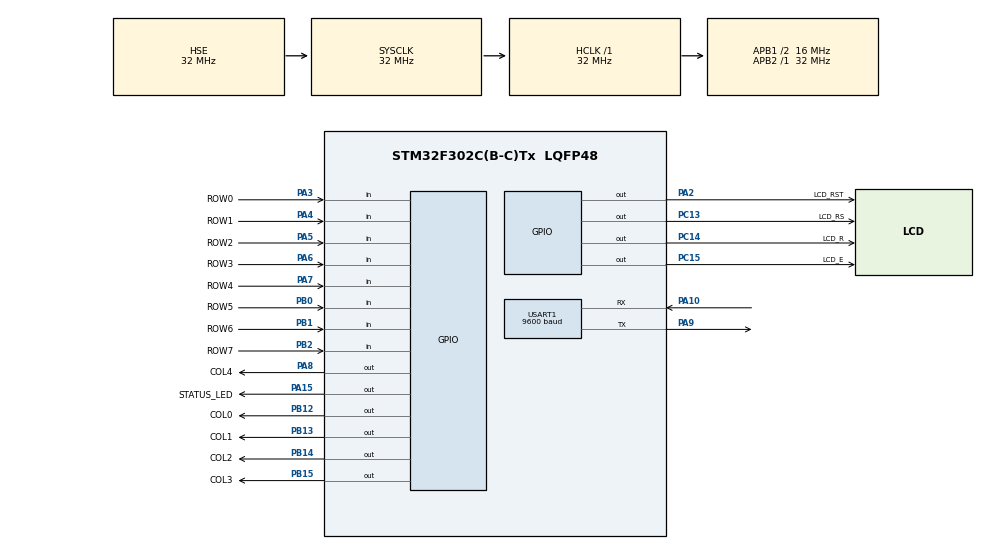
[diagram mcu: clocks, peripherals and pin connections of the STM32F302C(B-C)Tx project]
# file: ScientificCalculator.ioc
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Mcu.Family=STM32F3
Mcu.Name=STM32F302C(B-C)Tx
Mcu.Package=LQFP48
NVIC.PriorityGroup=NVIC_PRIORITYGROUP_4
NVIC.TIM2_IRQn=true\:0\:0\:false\:false\:true\:true\:true\:true
NVIC.USART1_IRQn=true\:0\:0\:false\:false\:true\:true\:true\:true
PA10.Mode=Asynchronous
PA10.Signal=USART1_RX
PA13.Signal=SYS_JTMS-SWDIO
PA14.Signal=SYS_JTCK-SWCLK
PA15.GPIO_Label=STATUS_LED
PA15.Signal=GPIO_Output
PA2.GPIO_Label=LCD_RST
PA2.Signal=GPIO_Output
PA3.GPIO_Label=ROW0
PA3.GPIO_Mode=GPIO_MODE_INPUT
PA3.GPIO_PuPd=GPIO_PULLUP
PA3.Signal=GPIO_Input
PA4.GPIO_Label=ROW1
PA4.GPIO_Mode=GPIO_MODE_INPUT
PA4.GPIO_PuPd=GPIO_PULLUP
PA4.Signal=GPIO_Input
PA5.GPIO_Label=ROW2
PA5.GPIO_Mode=GPIO_MODE_INPUT
PA5.GPIO_PuPd=GPIO_PULLUP
PA5.Signal=GPIO_Input
PA6.GPIO_Label=ROW3
PA6.GPIO_Mode=GPIO_MODE_INPUT
PA6.GPIO_PuPd=GPIO_PULLUP
PA6.Signal=GPIO_Input
PA7.GPIO_Label=ROW4
PA7.GPIO_Mode=GPIO_MODE_INPUT
PA7.GPIO_PuPd=GPIO_PULLUP
PA7.Signal=GPIO_Input
PA8.GPIO_Label=COL4
PA8.Signal=GPIO_Output
PA9.Mode=Asynchronous
PA9.Signal=USART1_TX
PB0.GPIO_Label=ROW5
PB0.GPIO_Mode=GPIO_MODE_INPUT
PB0.GPIO_PuPd=GPIO_PULLUP
PB0.Signal=GPIO_Input
PB1.GPIO_Label=ROW6
PB1.GPIO_Mode=GPIO_MODE_INPUT
PB1.GPIO_PuPd=GPIO_PULLUP
PB1.Signal=GPIO_Input
PB12.GPIO_Label=COL0
PB12.Signal=GPIO_Output
PB13.GPIO_Label=COL1
PB13.Signal=GPIO_Output
PB14.GPIO_Label=COL2
PB14.Signal=GPIO_Output
PB15.GPIO_Label=COL3
PB15.Signal=GPIO_Output
PB2.GPIO_Label=ROW7
PB2.GPIO_Mode=GPIO_MODE_INPUT
PB2.GPIO_PuPd=GPIO_PULLUP
PB2.Signal=GPIO_Input
PC13.GPIO_Label=LCD_RS
PC13.Signal=GPIO_Output
PC14-OSC32_IN.GPIO_Label=LCD_R
PC14-OSC32_IN.Signal=GPIO_Output
PC15-OSC32_OUT.GPIO_Label=LCD_E
PC15-OSC32_OUT.Signal=GPIO_Output
PF0-OSC_IN.Mode=HSE-External-Oscillator
PF0-OSC_IN.Signal=RCC_OSC_IN
PF1-OSC_OUT.Mode=HSE-External-Oscillator
PF1-OSC_OUT.Signal=RCC_OSC_OUT
ProjectManager.HeapSize=0x200
ProjectManager.StackSize=0x400
ProjectManager.TargetToolchain=STM32CubeIDE
RCC.AHBFreq_Value=32000000
RCC.APB1CLKDivider=RCC_HCLK_DIV2
RCC.APB1Freq_Value=16000000
RCC.APB1TimFreq_Value=32000000
RCC.APB2Freq_Value=32000000
RCC.APB2TimFreq_Value=32000000
RCC.CortexFreq_Value=32000000
RCC.HCLKFreq_Value=32000000
RCC.HSE_VALUE=32000000
RCC.HSI_VALUE=8000000
RCC.LSE_VALUE=32768
RCC.PLLMUL=RCC_PLL_MUL4
RCC.PLLSourceVirtual=RCC_PLLSOURCE_HSE
RCC.RCC_PLLsource_Clock_Source_FROM_HSE=RCC_HSE_PREDIV_DIV2
RCC.SYSCLKFreq_VALUE=32000000
RCC.SYSCLKSourceVirtual=RCC_SYSCLKSOURCE_HSE
RCC.USBFreq_Value=64000000
TIM1.Period=0xffff-1
TIM1.Prescaler=32-1
TIM2.Period=5000
TIM2.Prescaler=3200-1
USART1.BaudRate=9600
USART1.VirtualMode-Asynchronous=VM_ASYNC
VP_TIM1_VS_ClockSourceINT.Mode=Internal
VP_TIM2_VS_ClockSourceINT.Mode=Internal
board=custom

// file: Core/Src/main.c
/* USER CODE BEGIN Header */
/**
  ******************************************************************************
  * @file           : main.c
  * @brief          : Main program body
  ******************************************************************************
  * @attention
  *
  * Copyright (c) 2023 STMicroelectronics.
  * All rights reserved.
  *
  * This software is licensed under terms that can be found in the LICENSE file
  * in the root directory of this software component.
  * If no LICENSE file comes with this software, it is provided AS-IS.
  *
  ******************************************************************************
  */
/* USER CODE END Header */
#include "main.h"

/* USER CODE BEGIN Includes */
#include "stdio.h"

#include "string.h"

#include "../../Library/ST7920_SERIAL/ST7920_SERIAL.h"

#include "../../Library/ST7920_SERIAL/ST7920_SERIAL.c"

#include "../../Library/KeyPad/KeyPad.h"

#include "../../Library/KeyPad/KeyPad.c"
/* USER CODE END Includes */

/* USER CODE BEGIN PD */
#define ANSWER_ROW 7
/* USER CODE END PD */

TIM_HandleTypeDef htim1;
TIM_HandleTypeDef htim2;

UART_HandleTypeDef huart1;

/* USER CODE BEGIN PV */
#define RxBuf_SIZE 9
#define MainBuf_SIZE 9
/* USER CODE END PV */

void SystemClock_Config(void);
static void MX_GPIO_Init(void);
static void MX_TIM1_Init(void);
static void MX_TIM2_Init(void);
static void MX_USART1_UART_Init(void);

/* USER CODE BEGIN 0 */

uint8_t RxBuf[RxBuf_SIZE];
uint8_t MainBuf[MainBuf_SIZE];
uint8_t oldPos, newPos;

uint8_t prev_GLCD_Buf[1024];
char answerRow_buf[20];

uint8_t input[256];
uint8_t input_length = 0;
uint8_t input_ptr = 0;
uint8_t disX = 0, disY = 0;

uint8_t currentMode = 0;
bool uartMode = false;
volatile bool uartDone = false;
bool loadingShown = false;

int millis = 0;

#include "../../Library/Screens/Menu/SelectMode.c"

bool ChangeScreen() {
	memcpy(prev_GLCD_Buf, GLCD_Buf, 1024);
	uint8_t selected = SelectModeMenu();
	if(selected == currentMode) {
		memcpy(GLCD_Buf, prev_GLCD_Buf, 1024);
		return false;
	}
	currentMode = selected;
	return true;
}

void PrintAnswer() {
	ClearRow(ANSWER_ROW);
	GLCD_Font_Print(16 - strlen(answerRow_buf), ANSWER_ROW, (char*)&answerRow_buf);
}

#include "../../Library/EvalExpr/EvalExpr.h"
#include "../../Library/EvalExpr/EvalExpr.c"

#include "../../Library/Screens/SplashScreen.c"
#include "../../Library/Screens/GraphScreen.c"
#include "../../Library/Screens/MathScreen.c"

/* USER CODE END 0 */

int main(void)
{

  /* MCU Configuration--------------------------------------------------------*/

  /* Reset of all peripherals, Initializes the Flash interface and the Systick. */
  HAL_Init();

  /* Configure the system clock */
  SystemClock_Config();

  /* Initialize all configured peripherals */
  MX_GPIO_Init();
  MX_TIM1_Init();
  MX_TIM2_Init();
  MX_USART1_UART_Init();
  /* USER CODE BEGIN 2 */
  KeyPad_Init();
  	ST7920_Init();

  	ST7920_GraphicMode(1);
  	ST7920_Clear();

  	InitSto();

	((GPIO_TypeDef*)(STATUS_LED_GPIO_Port))->BRR = STATUS_LED_Pin;

  	HAL_UART_Receive_IT (&huart1, RxBuf, RxBuf_SIZE);

  	SplashScreen();

  /* USER CODE END 2 */

  /* Infinite loop */
  while (1)
  {

    /* USER CODE BEGIN 3 */
	  input_length = 0;
		input_ptr = 0;
		disX = 0;
		disY = 0;

		GLCD_Buf_Clear();
		ST7920_Update();

		uartMode = false;

		switch(currentMode) {
		case 0:
		case 1:
			MathScreen(); break;
		default: MathScreen(); break;
		}
  }
  /* USER CODE END 3 */
}

void SystemClock_Config(void)
{
  RCC_OscInitTypeDef RCC_OscInitStruct = {0};
  RCC_ClkInitTypeDef RCC_ClkInitStruct = {0};
  RCC_PeriphCLKInitTypeDef PeriphClkInit = {0};

  /** Initializes the RCC Oscillators according to the specified parameters
  * in the RCC_OscInitTypeDef structure.
  */
  RCC_OscInitStruct.OscillatorType = RCC_OSCILLATORTYPE_HSE;
  RCC_OscInitStruct.HSEState = RCC_HSE_ON;
  RCC_OscInitStruct.HSIState = RCC_HSI_ON;
  RCC_OscInitStruct.PLL.PLLState = RCC_PLL_NONE;
  if (HAL_RCC_OscConfig(&RCC_OscInitStruct) != HAL_OK)
  {
    Error_Handler();
  }

  /** Initializes the CPU, AHB and APB buses clocks
  */
  RCC_ClkInitStruct.ClockType = RCC_CLOCKTYPE_HCLK|RCC_CLOCKTYPE_SYSCLK
                              |RCC_CLOCKTYPE_PCLK1|RCC_CLOCKTYPE_PCLK2;
  RCC_ClkInitStruct.SYSCLKSource = RCC_SYSCLKSOURCE_HSE;
  RCC_ClkInitStruct.AHBCLKDivider = RCC_SYSCLK_DIV1;
  RCC_ClkInitStruct.APB1CLKDivider = RCC_HCLK_DIV2;
  RCC_ClkInitStruct.APB2CLKDivider = RCC_HCLK_DIV1;

  if (HAL_RCC_ClockConfig(&RCC_ClkInitStruct, FLASH_LATENCY_1) != HAL_OK)
  {
    Error_Handler();
  }
  PeriphClkInit.PeriphClockSelection = RCC_PERIPHCLK_USART1|RCC_PERIPHCLK_TIM1;
  PeriphClkInit.Usart1ClockSelection = RCC_USART1CLKSOURCE_PCLK2;
  PeriphClkInit.Tim1ClockSelection = RCC_TIM1CLK_HCLK;
  if (HAL_RCCEx_PeriphCLKConfig(&PeriphClkInit) != HAL_OK)
  {
    Error_Handler();
  }
}

static void MX_TIM1_Init(void)
{

  TIM_ClockConfigTypeDef sClockSourceConfig = {0};
  TIM_MasterConfigTypeDef sMasterConfig = {0};

  htim1.Instance = TIM1;
  htim1.Init.Prescaler = 32-1;
  htim1.Init.CounterMode = TIM_COUNTERMODE_UP;
  htim1.Init.Period = 0xffff-1;
  htim1.Init.ClockDivision = TIM_CLOCKDIVISION_DIV1;
  htim1.Init.RepetitionCounter = 0;
  htim1.Init.AutoReloadPreload = TIM_AUTORELOAD_PRELOAD_DISABLE;
  if (HAL_TIM_Base_Init(&htim1) != HAL_OK)
  {
    Error_Handler();
  }
  sClockSourceConfig.ClockSource = TIM_CLOCKSOURCE_INTERNAL;
  if (HAL_TIM_ConfigClockSource(&htim1, &sClockSourceConfig) != HAL_OK)
  {
    Error_Handler();
  }
  sMasterConfig.MasterOutputTrigger = TIM_TRGO_RESET;
  sMasterConfig.MasterOutputTrigger2 = TIM_TRGO2_RESET;
  sMasterConfig.MasterSlaveMode = TIM_MASTERSLAVEMODE_DISABLE;
  if (HAL_TIMEx_MasterConfigSynchronization(&htim1, &sMasterConfig) != HAL_OK)
  {
    Error_Handler();
  }

}

static void MX_TIM2_Init(void)
{

  TIM_ClockConfigTypeDef sClockSourceConfig = {0};
  TIM_MasterConfigTypeDef sMasterConfig = {0};

  htim2.Instance = TIM2;
  htim2.Init.Prescaler = 3200-1;
  htim2.Init.CounterMode = TIM_COUNTERMODE_UP;
  htim2.Init.Period = 5000;
  htim2.Init.ClockDivision = TIM_CLOCKDIVISION_DIV1;
  htim2.Init.AutoReloadPreload = TIM_AUTORELOAD_PRELOAD_DISABLE;
  if (HAL_TIM_Base_Init(&htim2) != HAL_OK)
  {
    Error_Handler();
  }
  sClockSourceConfig.ClockSource = TIM_CLOCKSOURCE_INTERNAL;
  if (HAL_TIM_ConfigClockSource(&htim2, &sClockSourceConfig) != HAL_OK)
  {
    Error_Handler();
  }
  sMasterConfig.MasterOutputTrigger = TIM_TRGO_RESET;
  sMasterConfig.MasterSlaveMode = TIM_MASTERSLAVEMODE_DISABLE;
  if (HAL_TIMEx_MasterConfigSynchronization(&htim2, &sMasterConfig) != HAL_OK)
  {
    Error_Handler();
  }

}

static void MX_USART1_UART_Init(void)
{

  huart1.Instance = USART1;
  huart1.Init.BaudRate = 9600;
  huart1.Init.WordLength = UART_WORDLENGTH_8B;
  huart1.Init.StopBits = UART_STOPBITS_1;
  huart1.Init.Parity = UART_PARITY_NONE;
  huart1.Init.Mode = UART_MODE_TX_RX;
  huart1.Init.HwFlowCtl = UART_HWCONTROL_NONE;
  huart1.Init.OverSampling = UART_OVERSAMPLING_16;
  huart1.Init.OneBitSampling = UART_ONE_BIT_SAMPLE_DISABLE;
  huart1.AdvancedInit.AdvFeatureInit = UART_ADVFEATURE_NO_INIT;
  if (HAL_UART_Init(&huart1) != HAL_OK)
  {
    Error_Handler();
  }

}

static void MX_GPIO_Init(void)
{
  GPIO_InitTypeDef GPIO_InitStruct = {0};

  /* GPIO Ports Clock Enable */
  __HAL_RCC_GPIOC_CLK_ENABLE();
  __HAL_RCC_GPIOF_CLK_ENABLE();
  __HAL_RCC_GPIOA_CLK_ENABLE();
  __HAL_RCC_GPIOB_CLK_ENABLE();

  /*Configure GPIO pin Output Level */
  HAL_GPIO_WritePin(GPIOC, LCD_RS_Pin|LCD_R_Pin|LCD_E_Pin, GPIO_PIN_RESET);

  /*Configure GPIO pin Output Level */
  HAL_GPIO_WritePin(GPIOA, LCD_RST_Pin|COL4_Pin|STATUS_LED_Pin, GPIO_PIN_RESET);

  /*Configure GPIO pin Output Level */
  HAL_GPIO_WritePin(GPIOB, COL0_Pin|COL1_Pin|COL2_Pin|COL3_Pin, GPIO_PIN_RESET);

  /*Configure GPIO pins : LCD_RS_Pin LCD_R_Pin LCD_E_Pin */
  GPIO_InitStruct.Pin = LCD_RS_Pin|LCD_R_Pin|LCD_E_Pin;
  GPIO_InitStruct.Mode = GPIO_MODE_OUTPUT_PP;
  GPIO_InitStruct.Pull = GPIO_NOPULL;
  GPIO_InitStruct.Speed = GPIO_SPEED_FREQ_LOW;
  HAL_GPIO_Init(GPIOC, &GPIO_InitStruct);

  /*Configure GPIO pins : LCD_RST_Pin COL4_Pin STATUS_LED_Pin */
  GPIO_InitStruct.Pin = LCD_RST_Pin|COL4_Pin|STATUS_LED_Pin;
  GPIO_InitStruct.Mode = GPIO_MODE_OUTPUT_PP;
  GPIO_InitStruct.Pull = GPIO_NOPULL;
  GPIO_InitStruct.Speed = GPIO_SPEED_FREQ_LOW;
  HAL_GPIO_Init(GPIOA, &GPIO_InitStruct);

  /*Configure GPIO pins : ROW0_Pin ROW1_Pin ROW2_Pin ROW3_Pin
                           ROW4_Pin */
  GPIO_InitStruct.Pin = ROW0_Pin|ROW1_Pin|ROW2_Pin|ROW3_Pin
                          |ROW4_Pin;
  GPIO_InitStruct.Mode = GPIO_MODE_INPUT;
  GPIO_InitStruct.Pull = GPIO_PULLUP;
  HAL_GPIO_Init(GPIOA, &GPIO_InitStruct);

  /*Configure GPIO pins : ROW5_Pin ROW6_Pin ROW7_Pin */
  GPIO_InitStruct.Pin = ROW5_Pin|ROW6_Pin|ROW7_Pin;
  GPIO_InitStruct.Mode = GPIO_MODE_INPUT;
  GPIO_InitStruct.Pull = GPIO_PULLUP;
  HAL_GPIO_Init(GPIOB, &GPIO_InitStruct);

  /*Configure GPIO pins : COL0_Pin COL1_Pin COL2_Pin COL3_Pin */
  GPIO_InitStruct.Pin = COL0_Pin|COL1_Pin|COL2_Pin|COL3_Pin;
  GPIO_InitStruct.Mode = GPIO_MODE_OUTPUT_PP;
  GPIO_InitStruct.Pull = GPIO_NOPULL;
  GPIO_InitStruct.Speed = GPIO_SPEED_FREQ_LOW;
  HAL_GPIO_Init(GPIOB, &GPIO_InitStruct);

}

/* USER CODE BEGIN 4 */
void HAL_UART_RxCpltCallback(UART_HandleTypeDef *huart)
{
	if (huart->Instance == USART1) {
		uartDone = true;
		/* start the INT again */
		HAL_UART_Receive_IT (&huart1, RxBuf, RxBuf_SIZE);
	}
}

void HAL_TIM_PeriodElapsedCallback(TIM_HandleTypeDef *htim) {
	if (htim->Instance == TIM2) {
		ToggleCursor();
		ST7920_Update();
	}
}
/* USER CODE END 4 */

void Error_Handler(void)
{
  __disable_irq();
  while (1)
  {
  }
}
